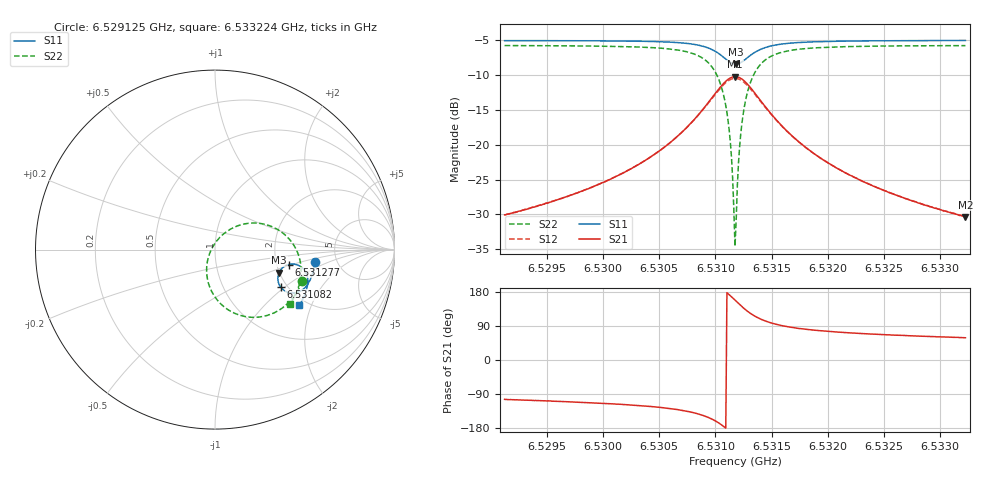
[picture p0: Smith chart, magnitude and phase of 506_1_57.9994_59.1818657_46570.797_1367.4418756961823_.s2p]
#  HZ  S  RI  R  50.00
! Rohde & Schwarz Vector Network Analyzer
! Rohde-Schwarz,ZNB20-2Port,1311601062101988,3.16
! Created: UTC 3/21/2024, 1:12:59 AM
! freq[Hz]  re:S11  im:S11  re:S21  im:S21  re:S12  im:S12  re:S22  im:S22
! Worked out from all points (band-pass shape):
!   401 points, 6.529125 GHz to 6.533224 GHz, reference 50 ohm
!   highest |S21| = -10.19 dB at 6.531175 GHz (marker M1); lowest = -30.4 dB at 6.533224 GHz (marker M2)
!   |S21| within 3 dB of the highest: 6.530971 GHz to 6.531381 GHz (409.8 kHz wide, 0.00627 % of centre)
!   lowest |S11| = -8.4 dB at 6.531185 GHz (marker M3), VSWR 2.22, Z = 99.4 - j30 ohm
!   |S11| at or under -10 dB: nowhere
!   |S22| runs from -34.6 to -5.7 dB; largest |S21 - S12| = 0.012
!   S11 on the Smith chart (normalised r, x): 6.529125 GHz: 3.41, -0.68; 6.531082 GHz: 1.85, -0.93; 6.531277 GHz: 2.32, -0.47; 6.533224 GHz: 1.82, -1.64
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6.5291251e9  0.5568 -0.0684  -0.00752 -0.0305  -0.00813 -0.0303  0.4873 -0.1724
6.5298117e9  0.5456 -0.1255  -0.0172 -0.0432  -0.0182 -0.0429  0.4563 -0.2362
6.5304983e9  0.5164 -0.1935  -0.0513 -0.0739  -0.0534 -0.0726  0.3741 -0.3263
6.530734e9  0.4888 -0.223  -0.0915 -0.093  -0.0941 -0.09  0.2931 -0.3662
6.5309082e9  0.4447 -0.2415  -0.16 -0.0991  -0.1622 -0.0926  0.1662 -0.3726
6.5310107e9  0.3998 -0.2356  -0.2296 -0.0721  -0.2287 -0.0627  0.048 -0.3166
6.5310824e9  0.3651 -0.2077  -0.2808 -0.013  -0.275 -0.0032  -0.0293 -0.2088
6.5311234e9  0.3522 -0.1793  -0.2967 0.0403  -0.2877 0.0482  -0.0468 -0.1177
6.5311644e9  0.3516 -0.1458  -0.2916 0.1013  -0.2807 0.1055  -0.0286 -0.0184
6.5311746e9  0.3536 -0.1372  -0.2866 0.1162  -0.2756 0.1196  -0.0179 0.00539
6.5311849e9  0.3567 -0.1291  -0.2802 0.1307  -0.2691 0.133  -0.00492 0.028
6.5311951e9  0.3605 -0.1213  -0.2722 0.1442  -0.2613 0.1456  0.0102 0.0489
6.5312156e9  0.3703 -0.1075  -0.2529 0.1685  -0.2427 0.1681  0.0456 0.0855
6.5312259e9  0.3762 -0.1015  -0.2418 0.1788  -0.2321 0.1776  0.0654 0.1007
6.5312464e9  0.3892 -0.0919  -0.2179 0.1953  -0.2094 0.1932  0.1071 0.1247
6.5312771e9  0.41 -0.0831  -0.1807 0.2108  -0.174 0.2076  0.1715 0.1444
6.5313488e9  0.4534 -0.0835  -0.1045 0.2125  -0.1012 0.2093  0.2997 0.1345
6.5314513e9  0.4911 -0.1064  -0.0391 0.1806  -0.0375 0.179  0.4064 0.0666
6.531605e9  0.5123 -0.1431  0.000176 0.1332  0.00123 0.1326  0.4648 -0.0295
6.5318612e9  0.5168 -0.1869  0.0165 0.0868  0.0175 0.0866  0.4797 -0.1277
6.5325478e9  0.4974 -0.2578  0.0181 0.0415  0.0189 0.0414  0.4514 -0.2448
6.5332241e9  0.4707 -0.3082  0.0158 0.0259  0.0165 0.0259  0.4167 -0.3053
